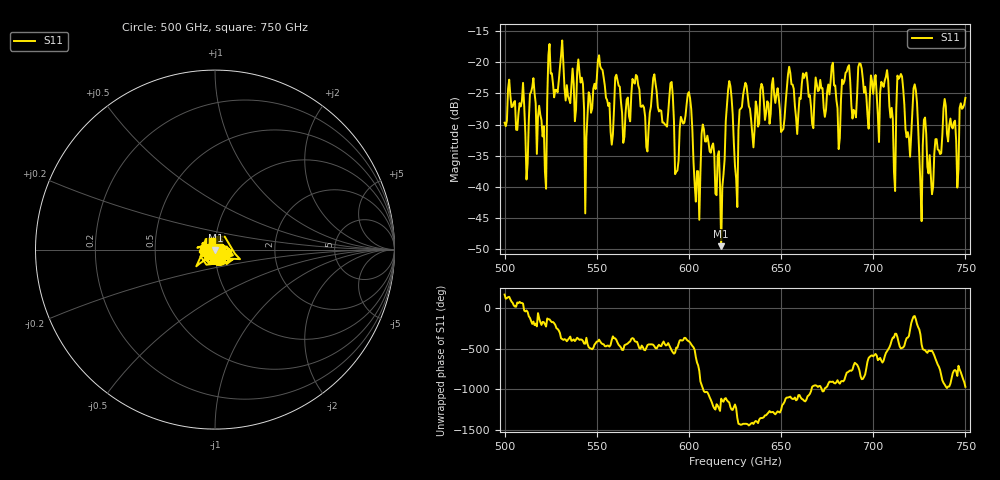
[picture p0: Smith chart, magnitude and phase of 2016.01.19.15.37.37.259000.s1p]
!Created with skrf (http://scikit-rf.org).
# GHz S RI R 50.0
!freq ReS11 ImS11
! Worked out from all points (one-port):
!   401 points, 500 GHz to 750 GHz, reference 50 ohm
!   lowest |S11| = -49.5 dB at 617.5 GHz (marker M1), VSWR 1.01, Z = 50.3 - j0.199 ohm
!   |S11| at or under -10 dB: start of sweep to end of sweep
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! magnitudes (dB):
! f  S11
! 500 GHz  -29.7
! 511.9 GHz  -38.8
! 515 GHz  -24.0
! 521.2 GHz  -30.3
! 524.4 GHz  -17.1
! 531.2 GHz  -16.5
! 544.4 GHz  -32.0
! 551.9 GHz  -20.7
! 557.5 GHz  -31.1
! 562.5 GHz  -23.9
! 590 GHz  -23.4
! 593.8 GHz  -37.4
! 600 GHz  -24.8
! 604.4 GHz  -37.4
! 608.1 GHz  -30.7
! 617.5 GHz  -49.5
! 621.9 GHz  -23.0
! 625 GHz  -36.7
! 630.6 GHz  -23.3
! 656.2 GHz  -23.6
! 687.5 GHz  -23.0
! 706.9 GHz  -22.4
! 710.6 GHz  -29.1
! 714.4 GHz  -22.4
! 718.8 GHz  -31.2
! 722.5 GHz  -23.6
! 731.2 GHz  -38.2
! 750 GHz  -25.7
